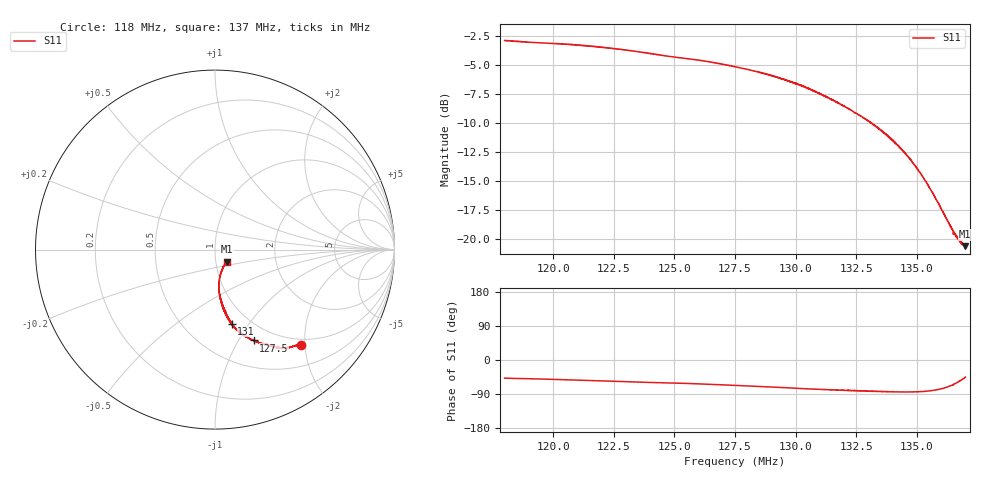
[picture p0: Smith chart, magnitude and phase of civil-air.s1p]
! Calibrated averaged scanner-service zoom
# Hz S RI R 50
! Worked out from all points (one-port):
!   2001 points, 118 MHz to 137 MHz, reference 50 ohm
!   lowest |S11| = -20.6 dB at 137 MHz (marker M1), VSWR 1.21, Z = 56.4 - j7.63 ohm
!   |S11| at or under -10 dB: 133.1 MHz to end of sweep
!   S11 on the Smith chart (normalised r, x): 118 MHz: 0.89, -1.92; 127.5 MHz: 0.80, -1.16; 131 MHz: 0.83, -0.83; 137 MHz: 1.13, -0.15
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1.18e8  0.4791 -0.5299
1.20375e8  0.4272 -0.5415
1.215435e8  0.3967 -0.5486
1.2275e8  0.3598 -0.5469
1.24194e8  0.3151 -0.5385
1.25125e8  0.2901 -0.5294
1.26436e8  0.2536 -0.5206
1.275e8  0.2159 -0.507
1.27519e8  0.2153 -0.5062
1.28773e8  0.1714 -0.4846
1.29875e8  0.13 -0.4538
1.303215e8  0.1136 -0.4389
1.309675e8  0.0935 -0.412
1.31528e8  0.0754 -0.3903
1.3225e8  0.0588 -0.3554
1.32972e8  0.044 -0.3203
1.335325e8  0.0338 -0.2902
1.3415e8  0.0271 -0.2562
1.34625e8  0.0225 -0.2257
1.35005e8  0.0218 -0.2005
1.354135e8  0.024 -0.1724
1.3567e8  0.0272 -0.1549
1.360215e8  0.0335 -0.1299
1.364395e8  0.0441 -0.1024
1.36601e8  0.0498 -0.092
1.3681e8  0.0584 -0.0786
1.36981e8  0.0648 -0.067
1.37e8  0.0655 -0.0668
